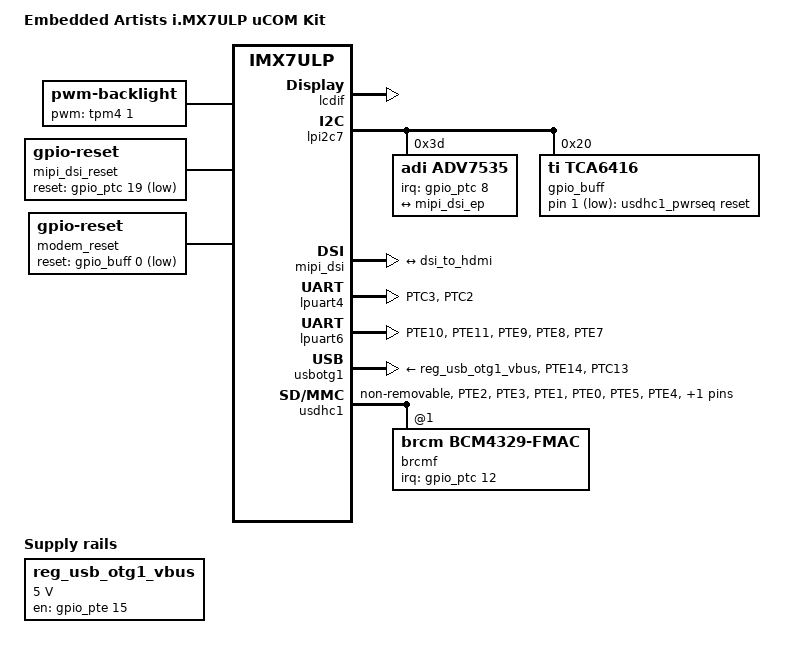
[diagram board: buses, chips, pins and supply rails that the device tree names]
/*
 * Copyright 2020 Embedded Artists AB.
 *
 * This program is free software; you can redistribute it and/or modify
 * it under the terms of the GNU General Public License version 2 as
 * published by the Free Software Foundation.
 */

/dts-v1/;

#include "imx7ulpea-ucom.dtsi"
#include <dt-bindings/input/input.h>

/ {
	model = "Embedded Artists i.MX7ULP uCOM Kit";
	compatible = "fsl,imx7ulpea-ucom", "fsl,imx7ulp", "Generic DT based system";

	chosen {
		stdout-path = &lpuart4;
	};

	backlight {
		compatible = "pwm-backlight";
		pwms = <&tpm4 1 50000 0>;
		brightness-levels = <0 20 25 30 35 40 100>;
		default-brightness-level = <6>;
		status = "okay";
	};

	mipi_dsi_reset: mipi-dsi-reset {
		compatible = "gpio-reset";
		reset-gpios = <&gpio_ptc 19 GPIO_ACTIVE_LOW>;
		reset-delay-us = <1000>;
		#reset-cells = <0>;
	};

	modem_reset: modem-reset { /* Murata -- BT_REG_ON */
		compatible = "gpio-reset";
		reset-gpios = <&gpio_buff 0 GPIO_ACTIVE_LOW>;
		reset-delay-us = <1000>;
		initially-in-reset;
		#reset-cells = <0>;
	};

	regulators {
		compatible = "simple-bus";
		#address-cells = <1>;
		#size-cells = <0>;

		reg_usb_otg1_vbus: regulator-usb-otg1-vbus {
			compatible = "regulator-fixed";
			pinctrl-names = "default", "sleep";
			pinctrl-0 = <&pinctrl_usbotg1_vbus>;
			pinctrl-1 = <&pinctrl_usbotg1_vbus>;
			regulator-name = "usb_otg1_vbus";
			regulator-min-microvolt = <5000000>;
			regulator-max-microvolt = <5000000>;
			gpio = <&gpio_pte 15 GPIO_ACTIVE_HIGH>;
			off-on-delay = <20000>;
			enable-active-high;
		};

	};

	rpmsg_i2s: rpmsg-i2s {
		compatible = "fsl,imx7ulp-rpmsg-i2s";
		/* the audio device index in m4 domain */
		fsl,audioindex = <0> ;
		status = "okay";
	};

	rpmsg_keys: rpmsg-keys {
		compatible = "fsl,rpmsg-keys";

		volume-up {
			label = "Volume Up";
			linux,code = <KEY_VOLUMEUP>;
		};

		volume-down {
			label = "Volume Down";
			linux,code = <KEY_VOLUMEDOWN>;
		};

		power-on {
			label = "PowerOn";
			linux,code = <KEY_POWER>;
			rpmsg-key,wakeup;
		};
	};

	sound-rpmsg {
		compatible = "fsl,imx-audio-rpmsg";
		model = "rpmsg-audio";
		cpu-dai = <&rpmsg_i2s>;
		rpmsg-out;
		rpmsg-in;
		audio-routing =
			"Headphone Jack", "HP_L",
			"Headphone Jack", "HP_R",
			"Ext Spk", "SPK_LP",
			"Ext Spk", "SPK_LN",
			"Ext Spk", "SPK_RP",
			"Ext Spk", "SPK_RN",
			"LINPUT2", "Mic Jack",
			"LINPUT3", "Mic Jack",
			"RINPUT1", "Main MIC",
			"RINPUT2", "Main MIC",
			"Mic Jack", "MICB",
			"Main MIC", "MICB",
			"Playback", "CPU-Playback",
			"CPU-Capture", "Capture";
	};

	usdhc1_pwrseq: usdhc1_pwrseq {
		compatible = "mmc-pwrseq-simple";
		reset-gpios = <&gpio_buff 1 GPIO_ACTIVE_LOW>; /* WL_REG_ON */
		post-power-on-delay-ms = <120>;
		status = "okay";
	};
};

&iomuxc1 {
	pinctrl-names = "default";

	imx7ulpea-ucom-kit {

		pinctrl_mipi_dsi_reset: mipi_dsi_reset_grp {
			fsl,pins = <
				IMX7ULP_PAD_PTC19__PTC19	0x20003
			>;
		};

		pinctrl_lpuart4: lpuart4grp {
			fsl,pins = <
				IMX7ULP_PAD_PTC3__LPUART4_RX	0x3
				IMX7ULP_PAD_PTC2__LPUART4_TX	0x3
			>;
		};

		pinctrl_lpuart6: lpuart6grp {
			fsl,pins = <
				IMX7ULP_PAD_PTE10__LPUART6_TX	0x3
				IMX7ULP_PAD_PTE11__LPUART6_RX	0x3
				IMX7ULP_PAD_PTE9__LPUART6_RTS_B	0x3
				IMX7ULP_PAD_PTE8__LPUART6_CTS_B	0x3
				IMX7ULP_PAD_PTE7__PTE7		0x20000	/* BT_HOST_WAKE */
			>;
		};

                pinctrl_usdhc1: usdhc1grp {
                        fsl,pins = <
				IMX7ULP_PAD_PTE2__SDHC1_CLK	0x10042
				IMX7ULP_PAD_PTE3__SDHC1_CMD	0x3
				IMX7ULP_PAD_PTE1__SDHC1_D0	0x3
				IMX7ULP_PAD_PTE0__SDHC1_D1	0x3
				IMX7ULP_PAD_PTE5__SDHC1_D2	0x3
				IMX7ULP_PAD_PTE4__SDHC1_D3	0x3
                        >;
                };

                pinctrl_usdhc1_100mhz: usdhc1grp100mhz {
                        fsl,pins = <
				IMX7ULP_PAD_PTE2__SDHC1_CLK	0x10042
				IMX7ULP_PAD_PTE3__SDHC1_CMD	0x3
				IMX7ULP_PAD_PTE1__SDHC1_D0	0x3
				IMX7ULP_PAD_PTE0__SDHC1_D1	0x3
				IMX7ULP_PAD_PTE5__SDHC1_D2	0x3
				IMX7ULP_PAD_PTE4__SDHC1_D3	0x3
                        >;
                };

                pinctrl_usdhc1_200mhz: usdhc1grp200mhz {
                        fsl,pins = <
				IMX7ULP_PAD_PTE2__SDHC1_CLK	0x10042
				IMX7ULP_PAD_PTE3__SDHC1_CMD	0x3
				IMX7ULP_PAD_PTE1__SDHC1_D0	0x3
				IMX7ULP_PAD_PTE0__SDHC1_D1	0x3
				IMX7ULP_PAD_PTE5__SDHC1_D2	0x3
				IMX7ULP_PAD_PTE4__SDHC1_D3	0x3
                        >;
                };

		pinctrl_usdhc1_gpio: usdhc1grp_gpio {
			fsl,pins = <
				IMX7ULP_PAD_PTC12__PTC12        0x43    /* WL_HOST_WAKE */
			>;
		};

		pinctrl_usbotg1_vbus: otg1vbusgrp {
			fsl,pins = <
				IMX7ULP_PAD_PTE15__PTE15	0x20000
			>;
		};

		pinctrl_usbotg1_id: otg1idgrp {
			fsl,pins = <
				IMX7ULP_PAD_PTE14__USB0_OC	0x10003
				IMX7ULP_PAD_PTC13__USB0_ID	0x10003
			>;
		};

		pinctrl_dsi_hdmi: dsi_hdmi_grp {
			fsl,pins = <
				IMX7ULP_PAD_PTC8__PTC8		0x10003	/* DSI_HDMI_INT */
			>;
		};

                pinctrl_pwm1: pwm1grp {
                        fsl,pins = <
                                IMX7ULP_PAD_PTC9__PTC9			0x06
                        >;
                };

                /* Expansion Board */
                pinctrl_exp_conn: expconngrp {
                        fsl,pins = <
                                                                                /* GPIO_H Not Connected */
                                                                                /* GPIO_J Not Connected */
                                /*IMX7ULP_PAD_PTC8__PTC8                  0xC6       GPIO_K ADV7535 INT (on adapter board) */
                                /*IMX7ULP_PAD_PTA24__PTA24                0xC6*/    /* GPIO_P */
                                                                                /* GPIO_Q Not Connected */
                                                                                /* GPIO_R Not Connected */
                                                                                /* GPIO_S Not Connected */
                                                                                /* GPIO_T Not Connected */
                                                                                /* GPIO_U Not Connected */
                                                                                /* GPIO_V Not Connected */
                                                                                /* GPIO_W Not Connected */
                                                                                /* GPIO_X Not Connected */
                                                                                /* GPIO_Y Not Connected */
                                                                                /* GPIO_Z Not Connected */
                                                                                /* GPIO_AA Not Connected */
                                                                                /* GPIO_AB Not Connected */
                                                                                /* GPIO_AC Not Connected */
                                                                                /* GPIO_AD Not Connected */
                                                                                /* GPIO_AE Not Connected */
                                                                                /* GPIO_AF Not Connected */
                                                                                /* GPIO_AG Not Connected */
                                                                                /* GPIO_AH Not Connected */
                                IMX7ULP_PAD_PTE6__PTE6                  0xC6    /* GPIO_AJ WL_REG_ON */
                                IMX7ULP_PAD_PTE12__PTE12                0xC6    /* GPIO_AK BT_DEV_WAKE */
                                IMX7ULP_PAD_PTE13__PTE13                0xC6    /* GPIO_AL BT_REG_ON */
                                                                                /* GPIO_AP Not Connected */
                                                                                /* GPIO_AQ Not Connected */
                                                                                /* GPIO_AR Not Connected */
                                                                                /* GPIO_AS Not Connected */
                                                                                /* GPIO_AT Not Connected */
                                                                                /* GPIO_AU Not Connected */
                                                                                /* GPIO_AV Not Connected */
                        >;
                };

	};
};

&lcdif {
	status = "okay";
	disp-dev = "mipi_dsi_northwest";
	display = <&display0>;

	display0: display@0 {
		bits-per-pixel = <16>;
		bus-width = <24>;

		display-timings {
			native-mode = <&timing0>;
			timing0: timing0 {
			clock-frequency = <9200000>;
			hactive = <480>;
			vactive = <272>;
			hfront-porch = <8>;
			hback-porch = <4>;
			hsync-len = <41>;
			vback-porch = <2>;
			vfront-porch = <4>;
			vsync-len = <10>;

			hsync-active = <0>;
			vsync-active = <0>;
			de-active = <1>;
			pixelclk-active = <0>;
			};
		};
	};
};

/* I2C-D */
&lpi2c7 {

	adv7535: adv7535@3d {
		compatible = "adi,adv7535";
		reg = <0x3d>; /* PD pin is high */
		pinctrl-names = "default";
		pinctrl-0 = <&pinctrl_dsi_hdmi>;
		interrupt-parent = <&gpio_ptc>;
		interrupts = <8 IRQ_TYPE_EDGE_FALLING>;
		video-mode = <1>; /*
				   * Only support CEA modes.
				   * Reference mxc_edid.c
				   */
		dsi-traffic-mode = <0>;
		bpp = <24>;
		status = "okay";
	};

	gpio_buff: pca6416@20 {
		compatible = "ti,tca6416";
		reg = <0x20>;
		gpio-controller;
		#gpio-cells = <2>;
		gpio-line-names = "BT_REG_ON", "WL_REG_ON", "VBAT_VSEL",
			"BT_DEV_WAKE", "", "AUD_CODEC_MUX_CTRL1",
			"VDDIO_VSEL", "PCIE_PERST_L", "",
			"DIR_WL_DEV_WAKE", "PCIE_CLK_MUX_CTRL", "AUD_CODEC_MUX_CTRL2",
			"DIR_BT_AUD_WS_CLK", "USER_BTN", "USER_LED1", "USER_LED2";

		hog_VBAT_VSEL {
			gpio-hog;
			gpios = <2 0>;
			output-low; /* LOW = 3.3V, HIGH = 3.6V */
		};
		hog_AUD_CODEC_MUX_CTRL1 {
			gpio-hog;
			gpios = <5 0>;
			output-low;
		};
		hog_VDDIO_VSEL {
			gpio-hog;
			gpios = <6 0>;
			output-low; /* LOW = 1.8V, HIGH = 3.3V */
		};
		hog_DIR_WL_DEV_WAKE {
			gpio-hog;
			gpios = <9 0>;
			output-high;
		};
		hog_PCIE_CLK_MUX_CTRL {
			gpio-hog;
			gpios = <10 0>;
			output-high; /* LOW = External Reference Clock, HIGH = i.MX Generated Clock */
		};
		hog_AUD_CODEC_MUX_CTRL2 {
			gpio-hog;
			gpios = <11 0>;
			output-low;
		};
	};
};

&adv7535 {
	status = "okay";

	port {
		dsi_to_hdmi: endpoint {
			remote-endpoint = <&mipi_dsi_ep>;
		};
	};
};


&mipi_dsi {
	status = "okay";

	port {
		mipi_dsi_ep: endpoint {
			remote-endpoint = <&dsi_to_hdmi>;
		};
	};
};

&lpuart4 { /* console */
	pinctrl-names = "default", "sleep";
	pinctrl-0 = <&pinctrl_lpuart4>;
	pinctrl-1 = <&pinctrl_lpuart4>;
	status = "okay";
};

&lpuart6 {
	pinctrl-names = "default", "sleep";
	pinctrl-0 = <&pinctrl_lpuart6>;
	pinctrl-1 = <&pinctrl_lpuart6>;
	status = "okay";

	fsl,uart-has-rtscts;
	resets = <&modem_reset>;
};

&usbotg1 {
	vbus-supply = <&reg_usb_otg1_vbus>;
	pinctrl-names = "default", "sleep";
	pinctrl-0 = <&pinctrl_usbotg1_id>;
	pinctrl-1 = <&pinctrl_usbotg1_id>;
	srp-disable;
	hnp-disable;
	adp-disable;
	status = "okay";
};

&usbphy1 {
	fsl,tx-d-cal = <88>;
};

/* M.2 connector */
&usdhc1 {
        #address-cells = <1>;
        #size-cells = <0>;
	assigned-clocks = <&scg1 IMX7ULP_CLK_APLL_PFD1>, <&pcc2 IMX7ULP_CLK_USDHC1>;
	assigned-clock-parents = <0>, <&scg1 IMX7ULP_CLK_APLL_PFD1>;
	assigned-clock-rates = <0>, <352800000>;
	pinctrl-names = "default", "state_100mhz", "state_200mhz";
	pinctrl-0 = <&pinctrl_usdhc1>, <&pinctrl_usdhc1_gpio>;
	pinctrl-1 = <&pinctrl_usdhc1_100mhz>, <&pinctrl_usdhc1_gpio>;
	pinctrl-2 = <&pinctrl_usdhc1_200mhz>, <&pinctrl_usdhc1_gpio>;
	keep-power-in-suspend;
	non-removable;
	pm-ignore-notify;
	cap-power-off;
	max-frequency = <150000000>; /* slow down UHS SDR104 clock */
	mmc-pwrseq = <&usdhc1_pwrseq>;
	vqmmc-supply = <&vldo1_reg>;
	status = "okay";
	brcmf: bcrmf@1 {
		reg = <1>;
		compatible = "brcm,bcm4329-fmac";
		interrupt-parent = <&gpio_ptc>;
		interrupts = <12 IRQ_TYPE_LEVEL_LOW>;  /* WL_HOST_WAKE = PTC12 active low for M.2. */
		interrupt-names = "host-wake";
	};
};
